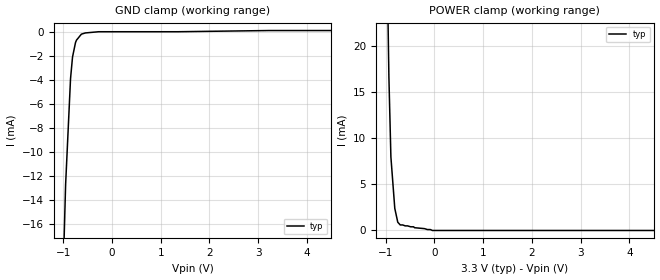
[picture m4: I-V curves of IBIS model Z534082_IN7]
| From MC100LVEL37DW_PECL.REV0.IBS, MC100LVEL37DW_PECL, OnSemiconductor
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| (C) COPYRIGHT 1993-2000
| MENTOR GRAPHICS CORPORATION
| ICX STANDARD LIBRARY, ICX PROJECT MODELING,
| ICX CUSTOM MODELING, ICX VENDOR MODEL
| ALL RIGHTS RESERVED.
| THE FOLLOWING ARE TRADEMARKS OR SERVICE MARKS OF
| MENTOR GRAPHICS CORPORATION:ICX (R), ICX STANDARD
| LIBRARY(R), ICX PROJECT MODELING(R), ICX CUSTOM
| MODELING(R), qualityIBIS(TM), MODELVIEWER(TM),
| AND MODELEDITOR(TM)
| ALL COPIES OF SOFTWARE, INCLUDING BUT NOT LIMITED TO
| ANY MODIFICATIONS, ENHANCEMENTS OR DERIVATIVE WORKS,
| MUST CONTAIN ALL MENTOR GRAPHICS CORPORATION'S
| NOTICES AND LEGENDS, INCLUDING THOSE EMBEDDED IN
| SOFTWARE AND THOSE AFFIXED TO SOFTWARE MEDIUM
| AND CONTAINER, AS RECEIVED FROM MENTOR GRAPHICS
| CORPORATION.
| Model Application Version 1.89 2/18/99.
[Model] Z534082_IN7
Model_type Input_ECL
Vinl = 2.115V
Vinh = 2.301V
C_comp 4.000pF NA NA
| variable typ   min   max
[Voltage Range] 3.300V NA NA
[GND Clamp Reference] 0.000V NA NA
[POWER Clamp Reference] 3.300V NA NA
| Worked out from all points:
|   GND clamp passes 1 mA (typ) near -0.75 V on its own axis
|   POWER clamp passes 1 mA (typ) near -0.76 V on its own axis
[GND Clamp]
-3.3V     -464.7mA   NA         NA
-1.074V   -30.5mA    NA         NA
-952mV    -12.7mA    NA         NA
-851mV    -3.9mA     NA         NA
-810mV    -2.1mA     NA         NA
-749mV    -900uA     NA         NA
-729mV    -700uA     NA         NA
-628mV    -200uA     NA         NA
-547mV    -100uA     NA         NA
-273.5mV  0A         NA         NA
6.6V      100uA      NA         NA
[POWER Clamp]
-3.3V     753.6mA    NA         NA
-1.341V   154.1mA    NA         NA
-936mV    16.7mA     NA         NA
-895mV    8mA        NA         NA
-815mV    2.4mA      NA         NA
-754mV    900uA      NA         NA
-703mV    600uA      NA         NA
-42.5mV   0A         NA         NA
6.6V      0A         NA         NA
